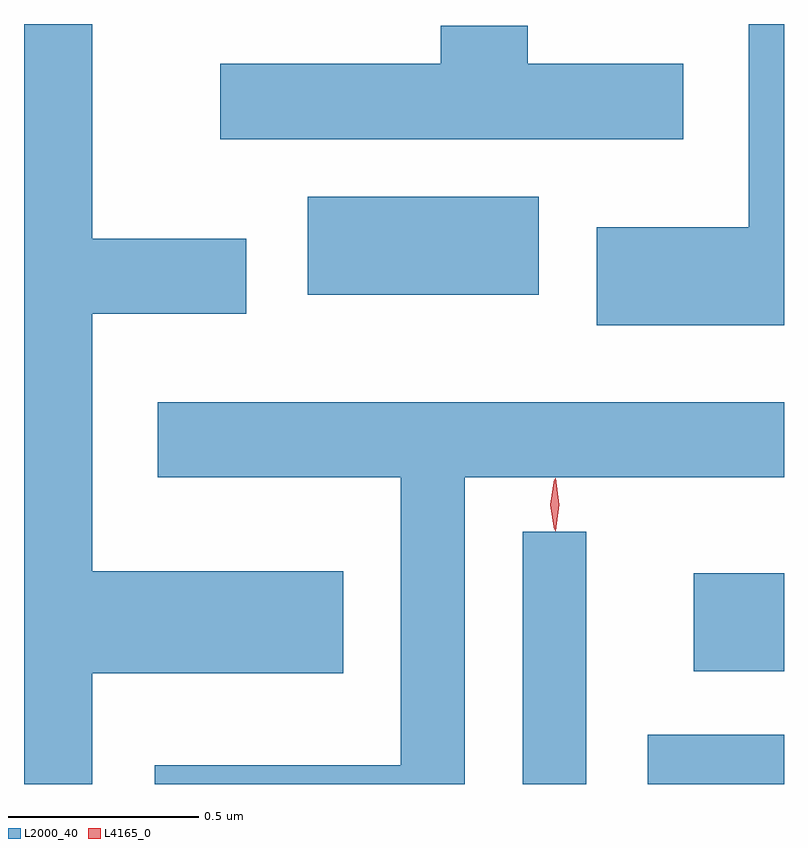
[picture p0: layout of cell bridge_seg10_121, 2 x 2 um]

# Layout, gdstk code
import gdstk
lib = gdstk.Library(unit=1e-6, precision=1e-09)
def R(c, l, rs):  # rectangles x0, y0, x1, y1
    for r in rs: c.add(gdstk.rectangle(r[:2], r[2:], *l))
def P(c, l, *ps):  # polygons
    for p in ps: c.add(gdstk.Polygon(p, *l))
L2000_40 = (2000, 40)
L4165_0 = (4165, 0)

bridge_seg10_121 = lib.new_cell('bridge_seg10_121')
R(bridge_seg10_121, L2000_40, [(1688.801,2141.509,1688.969,2142.173), (1689.131,2141.509,1689.489,2141.639), (1689.251,2141.806,1689.489,2142.064), (1688.236,2142.796,1688.844,2143.054)])
P(bridge_seg10_121, L2000_40, [(1689.489,2143.509),(1689.396,2143.509),(1689.396,2142.974),(1688.996,2142.974),(1688.996,2142.716),(1689.489,2142.716)],
  [(1689.224,2143.404),(1688.814,2143.404),(1688.814,2143.504),(1688.586,2143.504),(1688.586,2143.404),(1688.006,2143.404),(1688.006,2143.206),(1689.224,2143.206)],
  [(1688.649,2142.316),(1689.489,2142.316),(1689.489,2142.514),(1687.841,2142.514),(1687.841,2142.316),(1688.481,2142.316),(1688.481,2141.559),(1687.833,2141.559),(1687.833,2141.509),(1688.649,2141.509)],
  [(1688.074,2142.746),(1688.074,2142.944),(1687.669,2142.944),(1687.669,2143.509),(1687.489,2143.509),(1687.489,2141.509),(1687.669,2141.509),(1687.669,2141.801),(1688.329,2141.801),(1688.329,2142.069),(1687.669,2142.069),(1687.669,2142.746)])
P(bridge_seg10_121, L4165_0, [(1688.888,2142.174),(1688.887,2142.175),(1688.878,2142.244),(1688.887,2142.313),(1688.888,2142.314),(1688.888,2142.313),(1688.898,2142.244),(1688.888,2142.175)],
  [(1688.884,2142.178),(1688.884,2142.178),(1688.874,2142.244),(1688.884,2142.311),(1688.884,2142.311),(1688.884,2142.311),(1688.894,2142.244),(1688.884,2142.178)])

lib.write_gds('bridge_seg10_121.gds')
